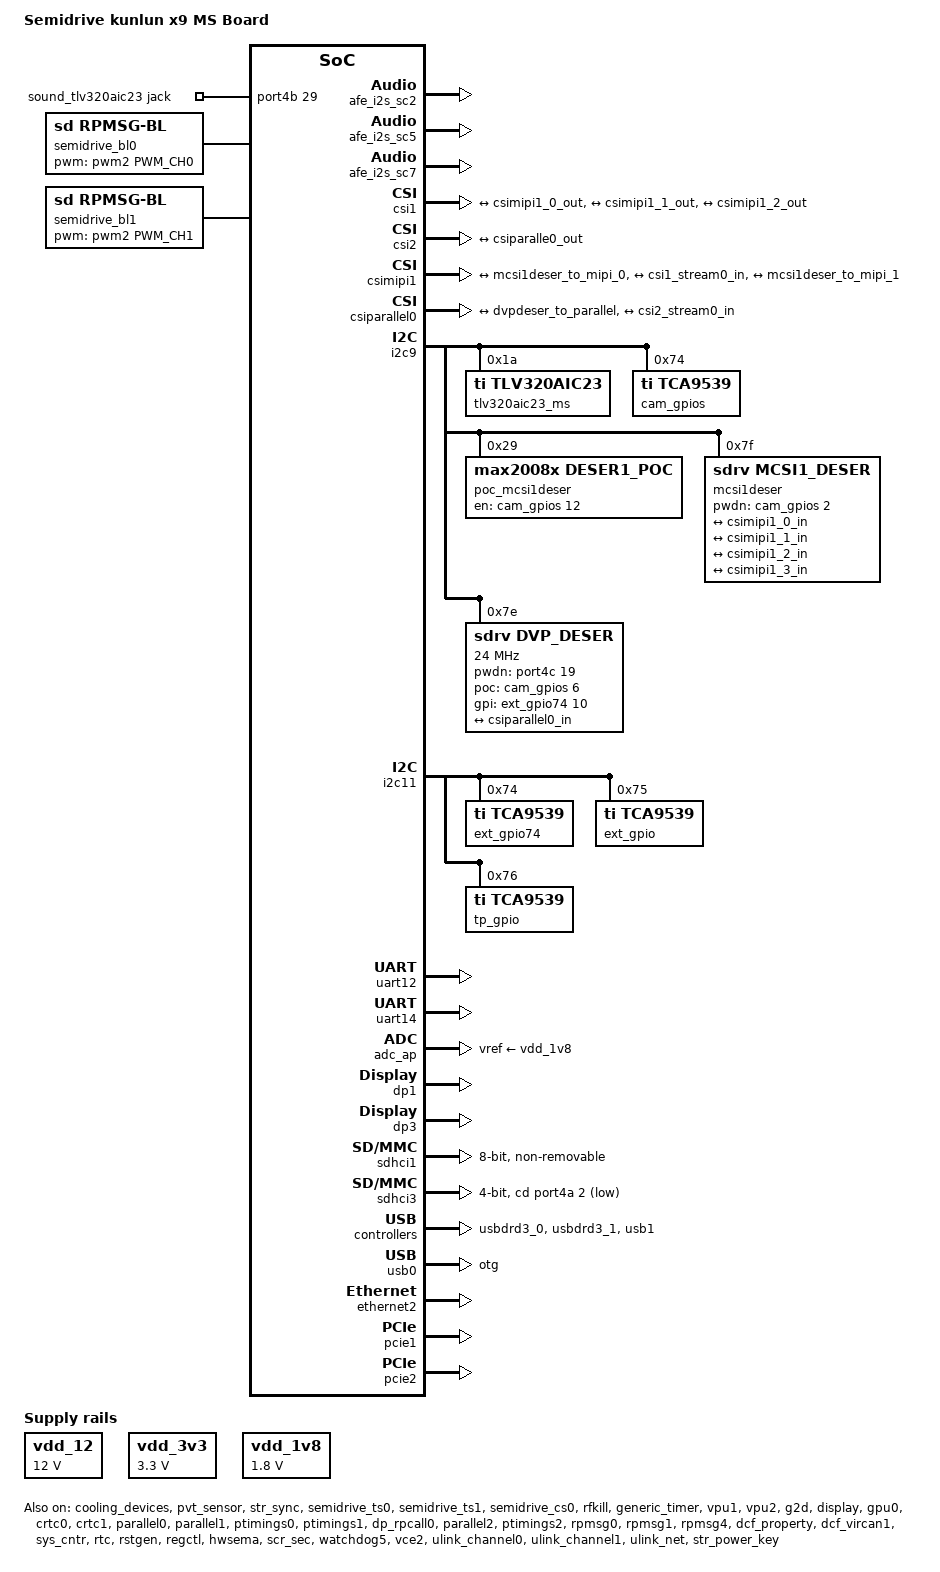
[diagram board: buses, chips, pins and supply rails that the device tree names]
/*
 * Semidrive kunlun platform DTS file
 *
 * Copyright (C) 2019, Semidrive  Communications Inc.
 *
 * This file is licensed under a dual GPLv2 or X11 license.
 */

/dts-v1/;

#include "x9_high-plus_ecockpit.dtsi"
#include "x9_high-plus_ms_ivi-clk-ctrl.dtsi"
#include "lcd-timings.dtsi"
#include <dt-bindings/pinctrl/pins-sdx9.h>
#include <dt-bindings/memmap/x9_high-plus/projects/ms_serdes/image_cfg.h>
#include <dt-bindings/memory/sdrv_ion.h>
#include <dt-bindings/rpmsg/sd,x9hp-ap1.h>
#include "x9-service.dtsi"
#include <dt-bindings/backlight/sdrv_backlight.h>
#include <dt-bindings/media/sdrv_csi.h>
#include <dt-bindings/soc/sdrv-unilink-x9hp.h>

/ {
	model = "Semidrive kunlun x9 MS Board";

	compatible = "semidrive,kunlun";

	aliases {
		serial0 = &uart14;
		serial2 = &uart12;
		ethernet2 = &ethernet2;
	};

	memory@50000000 {
		device_type = "memory";
		reg = <HIGH32(AP1_REE_MEMBASE + DTB_MEMSIZE) LOW32(AP1_REE_MEMBASE + DTB_MEMSIZE) HIGH32(AP1_KERNEL_MEMSIZE) LOW32(AP1_KERNEL_MEMSIZE) \
		       HIGH32(AP1_2ND_MEMBASE) LOW32(AP1_2ND_MEMBASE) HIGH32(AP1_2ND_MEMSIZE) LOW32(AP1_2ND_MEMSIZE)>;
	};

	reserved-memory {
		#address-cells = <2>;
		#size-cells = <2>;
		ranges;

		crashdump {
			/* reserve preloader mem for crashdump */
			compatibel = "crashdump";
			reg = <HIGH32(AP1_PRELOADER_MEMBASE) LOW32(AP1_PRELOADER_MEMBASE) 0 AP1_PRELOADER_MEMSIZE>;
		};

		ramoops {
			compatible = "ramoops";
			reg = <HIGH32(AP1_BOARD_RAMDISK_MEMBASE + AP1_BOARD_RAMDISK_MEMSIZE + 0x1000000)
				LOW32(AP1_BOARD_RAMDISK_MEMBASE + AP1_BOARD_RAMDISK_MEMSIZE + 0x1000000) 0x0 0x100000>;
			record-size = <0x60000>;
			console-size = <0x40000>;
			ftrace-size = <0x20000>;
			pmsg-size = <0x40000>;
		};

		/* Default Common CMA Pool */
		/* QUIRK: Must be kept in the lower 4096 MiBs of DRAM banks for VE */
		linux,cma {
			compatible = "shared-dma-pool";
			reusable;
			size = <0x0 0x40000000>; /* 1G */
			/* 4GB maximum in case of 32-bit only capable devices */
			alloc-ranges = <0x0 0x0 0x0 0xffffffff>;
			linux,cma-default;
		};

		rproc_0_safety: rproc@0 {
			compatible = "shared-dma-pool";
			no-map;
			reg = <0x0 RPMSG0_MEM_POOL_BASE 0x0 RPMSG0_MEM_POOL_SIZE>;
		};

		rproc_1_secure: rproc@1 {
			compatible = "shared-dma-pool";
			no-map;
			reg = <0x0 RPMSG1_MEM_POOL_BASE 0x0 RPMSG1_MEM_POOL_SIZE>;
		};

		rproc_ap: rproc@4 {
			compatible = "shared-dma-pool";
			no-map;
			reg = <0x0 RPMSG3_MEM_POOL_BASE 0x0 RPMSG3_MEM_POOL_SIZE>;
		};

	};

	chosen {
		bootargs = "root=/dev/mmcblk0p1 rootfstype=ext4 rootwait ro highres=1  earlycon loglevel=4 console=ttyS0,115200n8 fbcon=map:1 pci=nomsi nr_cpus=6 androidboot.mode=normal androidboot.selinux=permissive androidboot.debuggable=0 androidboot.dm_verity=disable androidboot.vdsp=disable psplash=false init=/sbin/init";
		stdout-path = "serial0";
	};

	vdd_12: fixed-vdd_12 {
		compatible = "regulator-fixed";
		regulator-name = "vdd_12v";
		regulator-min-microvolt = <12000000>;
		regulator-max-microvolt = <12000000>;
	};

	vdd_3v3: fixed-vdd_3v3 {
		compatible = "regulator-fixed";
		regulator-name = "vdd_3v3";
		regulator-min-microvolt = <3300000>;
		regulator-max-microvolt = <3300000>;
	};

	vdd_1v8: fixed-vdd_1v8 {
		compatible = "regulator-fixed";
		regulator-name = "vdd_1v8";
		regulator-min-microvolt = <1800000>;
		regulator-max-microvolt = <1800000>;
	};

	sound_ak7738: sound@ak7738 {
		compatible = "semidrive,x9-ms-mach";
		status = "okay";
	};

	sound_tlv320aic23: sound@tlv320aic23 {
		compatible = "semidrive,x9-ref-tlv320aic23";
		semidrive,audio-codec = <&tlv320aic23_ms>;
		semidrive,afe-i2s = <&afe_i2s_sc2>;
		semidrive,jack-gpio = <&port4b 29 0>; //SOC_GPIO_C13_HP_DET
		status = "okay";
	};

	semidrive_bl0: panel0-backlight {
		compatible = "sd,rpmsg-bl"; /*"sd,rpmsg-bl" for rpmsg; "pwm-backlight" for native*/
		bl_screen-id = /bits/ 32 <1>;
		pwms = <&pwm2 PWM_CH0 PWM_FREQUENCY PWM_POLARITY_INVERSED>;
		brightness-levels = <0 1 2 3 4 5 6 7 8 9 10 11 12 13 14 15 16
							 17 18 19 20 21 22 23 24 25 26 27 28 29 30
							 31 32 33 34 35 36 37 38 39 40 41 42 43 44
							 45 46 47 48 49 50 51 52 53 54 55 56 57 58
							 59 60 61 62 63 64 65 66 67 68 69 70 71 72
							 73 74 75 76 77 78 79 80 81 82 83 84 85 86
							 87 88 89 90 91 92 93 94 95 96 97 98 99 100>;
		default-brightness-level = <70>;
		status = "okay";
	};

	semidrive_bl1: panel1-backlight {
		compatible = "sd,rpmsg-bl"; /*"sd,rpmsg-bl" for rpmsg; "pwm-backlight" for native*/
		bl_screen-id = /bits/ 32 <2>;
		pwms = <&pwm2 PWM_CH1 PWM_FREQUENCY PWM_POLARITY_INVERSED>;
		brightness-levels = <0 1 2 3 4 5 6 7 8 9 10 11 12 13 14 15 16
							 17 18 19 20 21 22 23 24 25 26 27 28 29 30
							 31 32 33 34 35 36 37 38 39 40 41 42 43 44
							 45 46 47 48 49 50 51 52 53 54 55 56 57 58
							 59 60 61 62 63 64 65 66 67 68 69 70 71 72
							 73 74 75 76 77 78 79 80 81 82 83 84 85 86
							 87 88 89 90 91 92 93 94 95 96 97 98 99 100>;
		default-brightness-level = <70>;
		status = "okay";
	};

	str_power_key: str_power_key {
		compatible = "sd,str-power-key";
		reg = <0x0 (SAF_AP1_MEMBASE+0x10000000+0x100000) 0x0 0x1000>;
		status = "okay";
	};
};

&cooling_devices {
	status = "okay";
};

&pvt_sensor {
	status = "okay";
};

&pwm2 {
	sd,playback-num-chan = <2>;
	#pwm-cells = <3>;
	status = "disabled";
};

&str_sync {
	host = <1>;
	status = "okay";
};

&semidrive_ts0 {
	status = "okay";
};
&semidrive_ts1 {
	status = "okay";
};

&semidrive_cs0 {
	dev_id = /bits/ 16 <0>;
	status = "okay";
};

&dmac4 {
	status = "okay";
};

&dmac5 {
	status = "okay";
};

&dmac6 {
	status = "okay";
};

&afe_i2s_sc2{
	dmas = <&dmac4 X9_DMA_SLV_ID_I2S_SC3_TX>, <&dmac4 X9_DMA_SLV_ID_I2S_SC3_RX>;
	dma-names = "tx", "rx";
	status = "okay";
};

&afe_i2s_sc5{
	dmas = <&dmac4 X9_DMA_SLV_ID_I2S_SC6_TX>, <&dmac4 X9_DMA_SLV_ID_I2S_SC6_RX>;
	dma-names = "tx", "rx";
	status = "okay";
};

&afe_i2s_sc7{
	dmas = <&dmac4 X9_DMA_SLV_ID_I2S_SC8_TX>, <&dmac4 X9_DMA_SLV_ID_I2S_SC8_RX>;
	dma-names = "tx", "rx";
	status = "okay";
};

&rfkill {
	bt_en = <&port4c 12 0>;
	status = "okay";
};

&csi1 {
	mbus-type = "mipi-csi2";
	pclk-sample = <1>;
	status = "okay";

	ports {
		csi1_stream0: port@0 {
			csi1_stream0_in: endpoint@0 {
				remote-endpoint = <&csimipi1_0_out>;
			};
		};
		csi1_stream1: port@1 {
			csi1_stream1_in: endpoint@0 {
				remote-endpoint = <&csimipi1_1_out>;
			};
		};
		csi1_stream2: port@2 {
			csi1_stream2_in: endpoint@0 {
				remote-endpoint = <&csimipi1_2_out>;
			};
		};
		csi1_stream3: port@3 {
			csi1_stream3_in: endpoint@0 {
				remote-endpoint = <&csimipi1_3_out>;
			};
		};
	};
};
&csi2 {
	mbus-type = "parallel";
	pclk-sample = <0>;
	status = "okay";

	ports {
		csi2_stream0: port@0 {
			csi2_stream0_in: endpoint@0 {
				remote-endpoint = <&csiparalle0_out>;
			};
		};

	};
};

&csimipi1 {
	status = "okay";
	lanerate = <72000000>;
	hsa = <10>;
	hbp = <20>;
	hsd = <0x60>;
	output-type = <0x1e>;

	ports {
		#address-cells = <1>;
		#size-cells = <0>;

		port@0 {
			#address-cells = <1>;
			#size-cells = <0>;
			reg = <0>;
			csimipi1_0_in: endpoint@0 {
				remote-endpoint = <&mcsi1deser_to_mipi_0>;
				reg = <0>;
			};
			csimipi1_0_out: endpoint@1 {
				remote-endpoint = <&csi1_stream0_in>;
				reg = <0>;
			};
		};
		port@1 {
			#address-cells = <1>;
			#size-cells = <0>;
			reg = <1>;
			csimipi1_1_in: endpoint@0 {
				remote-endpoint = <&mcsi1deser_to_mipi_1>;
				reg = <1>;
			};
			csimipi1_1_out: endpoint@1 {
				remote-endpoint = <&csi1_stream1_in>;
				reg = <1>;
			};
		};
		port@2 {
			#address-cells = <1>;
			#size-cells = <0>;
			reg = <2>;
			csimipi1_2_in: endpoint@0 {
				remote-endpoint = <&mcsi1deser_to_mipi_2>;
				reg = <2>;
			};
			csimipi1_2_out: endpoint@1 {
				remote-endpoint = <&csi1_stream2_in>;
				reg = <2>;
			};
		};
		port@3 {
			#address-cells = <1>;
			#size-cells = <0>;
			reg = <3>;
			csimipi1_3_in: endpoint@0 {
				remote-endpoint = <&mcsi1deser_to_mipi_3>;
				reg = <3>;
			};
			csimipi1_3_out: endpoint@1 {
				remote-endpoint = <&csi1_stream3_in>;
				reg = <3>;
			};
		};
	};
};

&csiparallel0 {
	status = "okay";
	#address-cells = <1>;
	#size-cells = <0>;

	port {
		#address-cells = <1>;
		#size-cells = <0>;
		reg = <0>;
		csiparallel0_in: endpoint@0 {
			remote-endpoint = <&dvpdeser_to_parallel>;
		};

		csiparallel0_out: endpoint@1 {
			remote-endpoint = <&csi2_stream0_in>;
		};
	};
};

&i2c5 {
        status = "disabled";

		ak7738:codec@1c{
			compatible = "akm,ak7738";
			reg = <0x1c>;
			ak7738,pdn-gpio = <&port4b 26 0>;
		};

};

&i2c6 {
        status = "disabled";
};

&i2c7 {
        status = "disabled";
};

&i2c9 {
	status = "okay";

	tlv320aic23_ms: codec@1a {
        compatible = "ti,tlv320aic23";
		reg = <0x1a>;
	};

	cam_gpios: gpio@74 {
		compatible = "ti,tca9539";
		reg = <0x74>;
		#gpio-cells = <2>;
		gpio-controller;
	};

	poc_mcsi1deser: poc@0x29 {
		compatible = "max2008x,deser1_poc";
		reg = <0x29>;
		en-gpios = <&cam_gpios 12 0>;
	};

	mcsi1deser:mcsi1deser@7F {
		compatible = "sdrv,mcsi1_deser";
		reg = <0x7F>;
		type = <SERDES_MIPI>;
		pwdn-gpios = <&cam_gpios 2 0>;
		addr_20086 = /bits/ 16 <0x29>;
		addr_96705 = /bits/ 16 <0x40>;
		addr_0101 = /bits/ 16 <0x5d>;

		ports {
			port@0 {
				#address-cells = <1>;
				#size-cells = <0>;

				mcsi1deser_to_mipi_0: endpoint {
					remote-endpoint = <&csimipi1_0_in>;
				};
			};
			port@1 {
				#address-cells = <1>;
				#size-cells = <0>;

				mcsi1deser_to_mipi_1: endpoint {
					remote-endpoint = <&csimipi1_1_in>;
				};
			};
			port@2 {
				#address-cells = <1>;
				#size-cells = <0>;

				mcsi1deser_to_mipi_2: endpoint {
					remote-endpoint = <&csimipi1_2_in>;
				};
			};
			port@3 {
				#address-cells = <1>;
				#size-cells = <0>;

				mcsi1deser_to_mipi_3: endpoint {
					remote-endpoint = <&csimipi1_3_in>;
				};
			};
		};
	};

	dvp_deser:dvp_deser@7E {
		compatible = "sdrv,dvp_deser";
		clock-frequency = <24000000>;
		reg = <0x7E>;
		type = <SERDES_PARALLEL>;
		//powerdown-gpios = <&cam_gpios 11 0>;
		//gpi-gpios = <&cam_gpios 10 0>;
		pwdn-gpios = <&port4c 19 0>;
		poc-gpios = <&cam_gpios 6 0>;
		gpi-gpios = <&ext_gpio74 10 0>;
		port {
			#address-cells = <1>;
			#size-cells = <0>;

			dvpdeser_to_parallel: endpoint {
				remote-endpoint = <&csiparallel0_in>;
			};
		};
	};
};

&i2c10 {
        status = "disabled";
	gt9271_11_j35:gt9271_11_j35@5d {
		//pinctrl-names = "default";
		//pinctrl-0 = <&pinctrl_gpiotouch_mipi>;
		compatible = "goodix,gt9271";
		irq-gpios = <&port4e 17 0>;	/*io97*/
		reset-gpios = <&tp_gpio 2 0>;	/*index 2*/
		reg = <0x5d>;
	};
};

&i2c11 {
	status = "okay";

	ext_gpio74: gpio@74 {
		compatible = "ti,tca9539";
		reg = <0x74>;
		#gpio-cells = <2>;
		gpio-controller;
	};
	ext_gpio: gpio@75 {
		compatible = "ti,tca9539";
		reg = <0x75>;
		#gpio-cells = <2>;
		gpio-controller;
	};
	tp_gpio: gpio@76 {
		compatible = "ti,tca9539";
		reg = <0x76>;
		#gpio-cells = <2>;
		gpio-controller;
	};
};

&i2c13 {
        status = "disabled";

        serdes_gt9xx_14_j34:touch@5d {
		compatible = "sdrv,ds947_ds948_gt9xx";
		irq-gpios = <&port4e 0 0>;	/*io80*/
		reset-gpios = <&ext_gpio 1 0>;	/*index 1*/
		reg = <0x5d>;
		dev_type = <0>;	/* 0: main device, 1: aux device */
		addr_ds947 = <0x1a>;
		addr_ds948 = <0x2c>;
	};
};

&i2c14 {
	status = "disabled";

	gt9271_15_j33:touch@14 {
		//pinctrl-names = "default";
		//pinctrl-0 = <&pinctrl_gpiotouch_lvds>;
		compatible = "goodix,gt9271";
		irq-gpios = <&port4e 3 0>;	/*io83*/
		reset-gpios = <&ext_gpio 7 0>;		/*index 7*/
		reg = <0x14>;
		dev_type = <1>;	/* 0: main device, 1: aux device */
	};
};

&i2c15 {
	status = "disabled";

	sync_enable = <1>;
	serdes_gt9xx_16_j35:touch@5d {
		compatible = "sdrv,ds941_ds948_gt9xx";
		irq-gpios = <&port4e 16 0>;	/*io96*/
		reset-gpios = <&tp_gpio 1 0>;	/*index 1*/
		reg = <0x5d>;
		dev_type = <0>;	/* 0: main device, 1: aux device */
		addr_ds941 = <0x0c>;
		addr_ds948 = <0x2c>;
		irq_channel = <3>;
		reset_channel = <2>;
	};

	serdes_gt9xx_16_j35a:touch@14 {
		compatible = "sdrv,ds941_ds948_gt9xx";
		irq-gpios = <&port4e 17 0>;	/*io97*/
		reset-gpios = <&tp_gpio 2 0>;	/*index 2*/
		reg = <0x14>;
		dev_type = <1>;	/* 0: main device, 1: aux device */
		addr_ds941 = <0x0d>;
		addr_ds948 = <0x3c>;
		irq_channel = <3>;
		reset_channel = <2>;
	};
};

&spi4 {
	status = "disabled";
};

&spi5 {
	status = "disabled";
};

&spi6 {
	status = "disabled";
};

&spi7 {
	status = "disabled";
};

&uart12 {
	status = "okay";
};

&uart14 {
	dmas = <&dmac4 X9_DMA_SLV_ID_UART15_TX>, <&dmac4 X9_DMA_SLV_ID_UART15_RX>;
	dma-names = "tx", "rx";
	status = "okay";
};

&generic_timer {
	status = "okay";
};

&adc_ap {
	resolution_value = <0x03>; /*ADC_6_BITS_E0 = 0x00 , ADC_8_BITS_E1 = 0x01 , ADC_10_BITS_E2 = 0x02 , ADC_12_BITS_E3 = 0x03*/
	clksrc_sel = <0x00>; /*ADC_SRC_CLK_ALT_E0 = 0x00 , ADC_SRC_CLK_PCLK_E1 = 0x01 , ADC_SRC_CLK_EXT_E2 = 0x02*/
	clk_value = <24000000>;
	channel_num = <4>;
	use-adc-fifo;
	vref-supply = <&vdd_1v8>;
	status = "okay";
};

&vpu1 {
	resets = <&rstgen RSTGEN_MODULE_VPU1>;
	reset-names = "vpu-reset";
	status = "okay";
};

&vpu2 {
	resets = <&rstgen RSTGEN_MODULE_VPU2>;
	reset-names = "vpu-reset";
	status = "okay";
};

&g2d {
	status = "okay";
};

&display {
	sdriv,crtc = <&crtc0 &crtc1 &crtc2>;
	status = "okay";
};

&gpu0 {
	status = "okay";
};

&dp1 {
	status = "okay";
};

&dp3 {
	status = "okay";
};

&crtc0 {
	dpc-master = <&dp1>;
	status = "okay";
};

&crtc1 {
	dpc-master = <&dp3>;
	status = "okay";
};

&parallel0 {
	status = "okay";
};

&parallel1 {
	status = "okay";
};

&dtimings0 {
	native-mode = <&hsd_fhd1920x720>;
};

&dtimings1 {
	native-mode = <&hsd_fhd1920x720_1>;
};

&ptimings0 {
	status = "okay";
};

&ptimings1 {
	status = "okay";
};

&dp_rpcall0 {
	status = "okay";
};

&crtc2 {
	dpc-master = <&dp_rpcall0>;
	status = "disabled";
};

&parallel2 {
	connector-mode = <20>;
	status = "okay";
};

&dtimings2 {
	native-mode = <&hsd_fhd1920x720_2>;
};

&ptimings2 {
	status = "okay";
};

&pinctrl {
	reg = <0x0 0x37000000 0x0 0x10000>;
	pinctrl-names = "default";

	sdx9-evk {
		pinctrl_mshc1: mshc1grp {
		kunlun,pins = <
			X9_PINCTRL_EMMC1_CLK__MSHC1_CLK_1 		X9_PINCTRL_OPEN_DRAIN_DISABLE
			X9_PINCTRL_EMMC1_CMD__MSHC1_CMD_1		X9_PINCTRL_OPEN_DRAIN_DISABLE
			X9_PINCTRL_EMMC1_DATA0__MSHC1_DATA_0_1	X9_PINCTRL_OPEN_DRAIN_DISABLE
			X9_PINCTRL_EMMC1_DATA1__MSHC1_DATA_1_1	X9_PINCTRL_OPEN_DRAIN_DISABLE
			X9_PINCTRL_EMMC1_DATA2__MSHC1_DATA_2_1	X9_PINCTRL_OPEN_DRAIN_DISABLE
			X9_PINCTRL_EMMC1_DATA3__MSHC1_DATA_3_1	X9_PINCTRL_OPEN_DRAIN_DISABLE
			X9_PINCTRL_EMMC1_DATA4__MSHC1_DATA_4_1	X9_PINCTRL_OPEN_DRAIN_DISABLE
			X9_PINCTRL_EMMC1_DATA5__MSHC1_DATA_5_1	X9_PINCTRL_OPEN_DRAIN_DISABLE
			X9_PINCTRL_EMMC1_DATA6__MSHC1_DATA_6_1	X9_PINCTRL_OPEN_DRAIN_DISABLE
			X9_PINCTRL_EMMC1_DATA7__MSHC1_DATA_7_1	X9_PINCTRL_OPEN_DRAIN_DISABLE
			X9_PINCTRL_EMMC1_STROBE__MSHC1_STB_1		X9_PINCTRL_OPEN_DRAIN_ENABLE
			X9_PINCTRL_EMMC1_RESET_N__MSHC1_RST_N_1	X9_PINCTRL_OPEN_DRAIN_DISABLE
			>;
		};

		pinctrl_gpiotouch_lvds: touchgrp_lvds {
                        kunlun,pins = <
			X9_PINCTRL_I2S_MC_SD4__GPIO_MUX2_IO80_1          0x00
			X9_PINCTRL_I2S_MC_SD5__GPIO_MUX2_IO81_1          0x00
                        X9_PINCTRL_I2S_MC_SD6__GPIO_MUX2_IO82_1          0x00
                        X9_PINCTRL_I2S_MC_SD7__GPIO_MUX2_IO83_1          0x00
                        >;
                };
		pinctrl_gpiotouch_mipi: touchgrp_mipi {
                        kunlun,pins = <
			X9_PINCTRL_EMMC2_CLK__GPIO_MUX2_IO96_1          0x00
			X9_PINCTRL_EMMC2_CMD__GPIO_MUX2_IO97_1          0x00
                        >;
                };
	};
};

&gpio4 {
	//pinctrl-names = "default";
	//pinctrl-0 = <&pinctrl_gpiotouch_lvds &pinctrl_gpiotouch_mipi>;
	status = "okay";
};

&sdhci1 {
	bus-width = <8>;
	non-removable;
	no-sdio;
	no-sd;
	card-is-emmc;
	disable-wp;
	cap-mmc-highspeed;
	keep-power-in-suspend;
	mmc-ddr-1_8v;
	mmc-hs200-1_8v;
	mmc-hs400-1_8v;
	mmc-hs400-enhanced-strobe;
	status = "okay";
};

&sdhci3 {
	#clock-cells = <1>;
	clocks = <&EMMC3>;
	clock-names = "core";
	max-frequency = <200000000>;
	cd-gpios = <&port4a 2 GPIO_ACTIVE_LOW>;
	bus-width = <4>;
	no-mmc;
	no-sdio;
	cap-sd-highspeed;
	sd-uhs-sdr104;
	disable-wp;
	keep-power-in-suspend;
	status = "okay";
};

&mbox {
	status = "okay";
};

&mbox_test {
	status = "okay";
};

&rpmsg0 {
	memory-region = <&rproc_0_safety>;
	reg = <0x0 RPMSG0_MEM_HEAD_BASE 0x0 RPMSG0_MEM_HEAD_SIZE>;
	status = "okay";
};

&rpmsg1 {
	memory-region = <&rproc_1_secure>;
	reg = <0x0 RPMSG1_MEM_HEAD_BASE 0x0 RPMSG1_MEM_HEAD_SIZE>;
	status = "okay";
};

&rpmsg4 {
	memory-region = <&rproc_ap>;
	reg = <0x0 RPMSG3_MEM_HEAD_BASE 0x0 RPMSG3_MEM_HEAD_SIZE>;
	status = "okay";
};

&ipcc0 {
	status = "okay";
};

&ipcc1 {
	status = "okay";
};

&ipcc4 {
	rpmsg-mtu  = <1024>;
	status = "okay";
};

&dcf_property {
	status = "okay";
};

&dcf_vircan1 {
	status = "okay";
};

&sys_cntr {
	status = "okay";
};

&smmu {
	status = "disabled";
};

&rtc {
	status = "okay";
};

&usbdrd3_0 {
	status = "okay";
};

&usb0 {
	dr_mode = "otg";
	maximum-speed = "super-speed";
	status = "okay";
};

&usbdrd3_1 {
	status = "okay";
};

&usb1 {
	status = "okay";
};

&eth_phy2 {
	compatible = "ethernet-phy-id0022.1620", "ethernet-phy-ieee802.3-c22";
	reg = <0>;
	rxc-skew-ps = <1860>;
	rxdv-skew-ps = <60>;
	rxd0-skew-ps = <60>;
	rxd1-skew-ps = <60>;
	rxd2-skew-ps = <60>;
	rxd3-skew-ps = <60>;
};

&ethernet2 {
	status = "okay";
};

&rstgen {
	reg = <0x0 0x38467000 0x0 0x1000>,	/* vpu1 */
		<0x0 0x38468000 0x0 0x1000>,	/* vpu2 */
		<0x0 0x38490000 0x0 0x1000>,	/* gpu1 core */
		<0x0 0x38491000 0x0 0x1000>,	/* gpu1 ss */
		<0x0 0x38461000 0x0 0x1000>,	/* GIC4 */
		<0x0 0x38455000 0x0 0x1000>,	/* cpu1 core0 warm */
		<0x0 0x38456000 0x0 0x1000>,	/* cpu1 core1 warm */
		<0x0 0x38457000 0x0 0x1000>,	/* cpu1 core2 warm */
		<0x0 0x38458000 0x0 0x1000>,	/* cpu1 core3 warm */
		<0x0 0x38459000 0x0 0x1000>,	/* cpu1 core4 warm */
		<0x0 0x3845a000 0x0 0x1000>,	/* cpu1 core5 warm */
		<0x0 0x3845b000 0x0 0x1000>,	/* cpu1 scu warm */
		<0x0 0x3846d000 0x0 0x1000>,	/* cpu1 ss */
		<0x0 0x38407000 0x0 0x2000>;	/* cpu1 all core */
	rstgen_resource = <
		RSTGEN_MODULE_VPU1
		RSTGEN_MODULE_VPU2
		RSTGEN_MODULE_GPU1_CORE
		RSTGEN_MODULE_GPU1_SS
		RSTGEN_MODULE_GIC4
		RSTGEN_MODULE_CPU1_CORE0_WARM
		RSTGEN_MODULE_CPU1_CORE1_WARM
		RSTGEN_MODULE_CPU1_CORE2_WARM
		RSTGEN_MODULE_CPU1_CORE3_WARM
		RSTGEN_MODULE_CPU1_CORE4_WARM
		RSTGEN_MODULE_CPU1_CORE5_WARM
		RSTGEN_MODULE_CPU1_SCU_WARM
		RSTGEN_MODULE_CPU1_SS
		RSTGEN_CORE_CPU1_ALL
		>;
	status = "okay";
};

&regctl {
	reg = <0x0 0x38415000 0x0 0x1000>,
		<0x0 0x38418000 0x0 0x1000>,
		<0x0 0x38419000 0x0 0x1000>,
		<0x0 0x3841a000 0x0 0x1000>;
	reg-names = "SDRV_REG_REMAP",
			"SDRV_REG_BOOTREASON",
			"SDRV_REG_HWID",
			"SDRV_REG_STATUS";
	status = "okay";
};

&ion {
	status = "disabled";
};

&hwsema {
        status = "okay";
};

&scr_sec {
        status = "okay";
};

&watchdog5 {
	wdt,auto-run = "false";
	status = "okay";
};

&pcie1 {
	status = "okay";
};

&pcie2 {
        status = "okay";
};

&vce2 {
   /*
 	* op-mode options:
 	* bit 0: rng enable(1) or disable(0)
 	* bit 1: ce enable(1) or disable(0)
 	*/
 	op-mode = <3>;
	status = "okay";
};

&ulink_channel0 {
	reg = <0x0 UNILINK_TX_AP1_TO_SAF_L 0x0 0x200000>,
		<0x0 UNILINK_RX_AP1_TO_SAF_L 0x0 0x200000>;
	status = "okay";
};

&ulink_channel1 {
	reg = <0x0 UNILINK_TX_AP1_TO_AP2_L 0x0 0x200000>,
		<0x0 UNILINK_RX_AP1_TO_AP2_L 0x0 0x200000>;
	status = "okay";
};

&ulink_net {
	local-mac-address = [66 cd 03 0a 00 0e];
	status = "okay";
};
